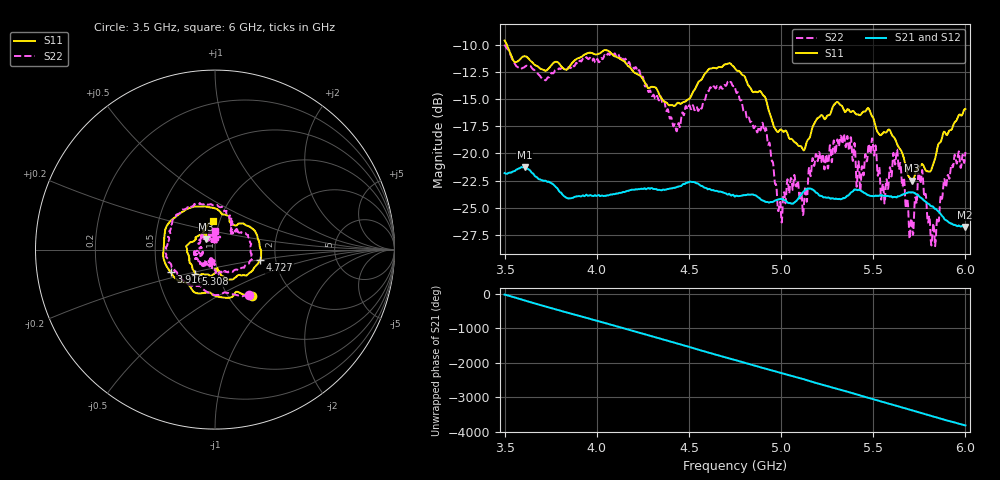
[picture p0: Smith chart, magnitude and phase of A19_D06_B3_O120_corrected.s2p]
! Created with skrf 1.9.0 (http://scikit-rf.org).
# Hz S RI R 50.0
!freq ReS11 ImS11 ReS21 ImS21 ReS12 ImS12 ReS22 ImS22
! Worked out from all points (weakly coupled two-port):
!   1601 points, 3.5 GHz to 6 GHz, reference 50 ohm
!   highest |S21| = -21.25 dB at 3.609 GHz (marker M1); lowest = -26.8 dB at 5.997 GHz (marker M2)
!   lowest |S11| = -22.5 dB at 5.711 GHz (marker M3), VSWR 1.16, Z = 45.1 + j5.15 ohm
!   |S11| at or under -10 dB: 3.512 GHz to end of sweep
!   |S22| runs from -28.5 to -10.0 dB; largest |S21 - S12| = 0.00092
!   S11 on the Smith chart (normalised r, x): 3.5 GHz: 1.28, -0.74; 3.916 GHz: 0.59, -0.16; 4.727 GHz: 1.66, -0.20; 5.308 GHz: 0.78, -0.21; 6 GHz: 0.93, +0.31
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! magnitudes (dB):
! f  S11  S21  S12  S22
! 3.5 GHz  -9.6  -21.8  -21.8  -10.0
! 3.609 GHz  -11.1  -21.3  -21.2  -12.0
! 3.916 GHz  -11.1  -23.9  -23.9  -11.5
! 3.917 GHz  -11.1  -23.9  -23.9  -11.5
! 4.334 GHz  -14.4  -23.3  -23.3  -15.0
! 4.441 GHz  -15.3  -23.1  -23.0  -17.4
! 4.727 GHz  -11.7  -23.9  -23.7  -13.4
! 4.75 GHz  -12.2  -24.0  -23.9  -13.9
! 4.911 GHz  -14.8  -24.4  -24.3  -18.0
! 4.994 GHz  -17.8  -24.2  -24.1  -24.5
! 5.062 GHz  -18.7  -24.6  -24.6  -23.4
! 5.128 GHz  -19.6  -23.4  -23.4  -23.6
! 5.167 GHz  -17.8  -23.3  -23.2  -20.9
! 5.308 GHz  -15.3  -24.2  -24.1  -18.8
! 5.584 GHz  -17.8  -23.9  -23.9  -22.5
! 5.636 GHz  -19.4  -24.0  -23.9  -21.0
! 5.711 GHz  -22.5  -23.6  -23.5  -26.5
! 5.756 GHz  -21.1  -24.1  -24.0  -22.8
! 5.827 GHz  -20.9  -24.9  -24.9  -26.4
! 5.933 GHz  -17.5  -26.5  -26.5  -21.2
! 5.997 GHz  -15.9  -26.8  -26.7  -20.5
! 6 GHz  -15.9  -26.8  -26.7  -19.9
